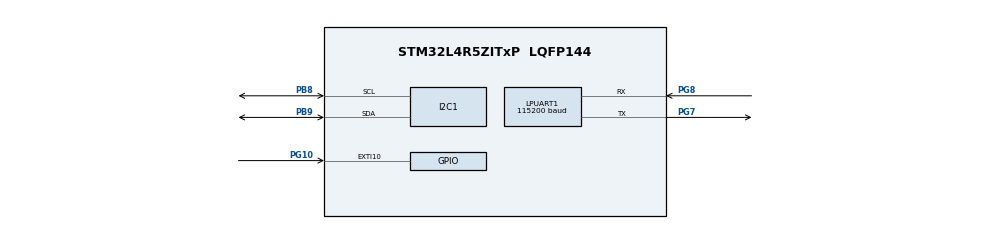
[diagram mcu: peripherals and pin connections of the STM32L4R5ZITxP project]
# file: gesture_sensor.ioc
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I2C1.Timing=0x00100D14
LPUART1.BaudRate=115200
LPUART1.WordLength=UART_WORDLENGTH_8B
Mcu.Family=STM32L4
Mcu.Name=STM32L4R5ZITxP
Mcu.Package=LQFP144
NVIC.EXTI15_10_IRQn=true\:0\:0\:false\:false\:true\:true\:true\:true
NVIC.PriorityGroup=NVIC_PRIORITYGROUP_4
NVIC.TIM2_IRQn=true\:0\:0\:false\:false\:true\:true\:true\:true
PA0.Signal=S_TIM2_CH1
PA1.Signal=ADCx_IN6
PA10.Signal=USB_OTG_FS_ID
PA13\ (JTMS/SWDIO).Signal=SYS_JTMS-SWDIO
PA14\ (JTCK/SWCLK).Signal=SYS_JTCK-SWCLK
PA3.Signal=ADCx_IN8
PA4.Signal=SPI1_NSS
PA5.Signal=SPI1_SCK
PA6.Signal=SPI1_MISO
PA7.Signal=SPI1_MOSI
PA8.Signal=USB_OTG_FS_SOF
PA9.Signal=USB_OTG_FS_VBUS
PB0.Signal=S_TIM3_CH3
PB1.Signal=ADCx_IN16
PB10.Signal=S_TIM2_CH3
PB12.Signal=SAI2_FS_A
PB13.Signal=SAI2_SCK_A
PB14.Signal=S_TIM15_CH1
PB15.Signal=SAI2_SD_A
PB2.Signal=COMP1_INP
PB3\ (JTDO/TRACESWO).Signal=SPI3_SCK
PB4\ (NJTRST).Signal=SPI3_MISO
PB5.Signal=SPI3_MOSI
PB6.Signal=COMP2_INP
PB8.Mode=I2C
PB8.Signal=I2C1_SCL
PB9.Mode=I2C
PB9.Signal=I2C1_SDA
PC0.Signal=ADCx_IN1
PC1.Signal=ADCx_IN2
PC10.Signal=SDMMC1_D2
PC11.Signal=SDMMC1_D3
PC12.Signal=SDMMC1_CK
PC13.Signal=SYS_WKUP2
PC14-OSC32_IN\ (PC14).Signal=RCC_OSC32_IN
PC15-OSC32_OUT\ (PC15).Signal=RCC_OSC32_OUT
PC2.Signal=ADCx_IN3
PC3.Signal=ADCx_IN4
PC4.Signal=ADCx_IN13
PC5.Signal=ADCx_IN14
PC6.Signal=SAI2_MCLK_A
PC7.Signal=S_TIM3_CH2
PC8.Signal=SDMMC1_D0
PC9.Signal=SDMMC1_D1
PD0.Signal=CAN1_RX
PD14.Signal=S_TIM4_CH3
PD15.Signal=S_TIM4_CH4
PD2.Signal=SDMMC1_CMD
PD3.Signal=USART2_CTS
PD4.Signal=USART2_RTS
PD5.Signal=USART2_TX
PD6.Signal=USART2_RX
PD8.Signal=USART3_TX
PD9.Signal=USART3_RX
PE0.Signal=S_TIM4_ETR
PE10.Signal=TIM1_CH2N
PE11.Signal=S_TIM1_CH2
PE12.Signal=TIM1_CH3N
PE13.Signal=S_TIM1_CH3
PE14.Signal=TIM1_BKIN2
PE15.Signal=TIM1_BKIN
PE2.Signal=SAI1_MCLK_A
PE3.Signal=SAI1_SD_B
PE7.Signal=S_TIM1_ETR
PE8.Signal=TIM1_CH1N
PE9.Signal=S_TIM1_CH1
PF0.Signal=I2C2_SDA
PF1.Signal=I2C2_SCL
PF2.Signal=I2C2_SMBA
PF7.Signal=SAI1_MCLK_B
PG10.Signal=GPXTI10
PG7.Mode=Asynchronous
PG7.Signal=LPUART1_TX
PG8.Mode=Asynchronous
PG8.Signal=LPUART1_RX
PH0-OSC_IN\ (PH0).Signal=RCC_OSC_IN
PH1-OSC_OUT\ (PH1).Signal=RCC_OSC_OUT
ProjectManager.HeapSize=0x200
ProjectManager.StackSize=0x400
ProjectManager.TargetToolchain=STM32CubeIDE
RCC.HSE_VALUE=8000000
RCC.HSI48_VALUE=48000000
RCC.HSI_VALUE=16000000
RCC.LSE_VALUE=32768
RCC.MSI_VALUE=4000000
RCC.VCOOutputFreq_Value=32000000
SH.ADCx_IN1.0=ADC1_IN1
SH.ADCx_IN13.0=ADC1_IN13
SH.ADCx_IN14.0=ADC1_IN14
SH.ADCx_IN16.0=ADC1_IN16
SH.ADCx_IN2.0=ADC1_IN2
SH.ADCx_IN3.0=ADC1_IN3
SH.ADCx_IN4.0=ADC1_IN4
SH.ADCx_IN6.0=ADC1_IN6
SH.ADCx_IN8.0=ADC1_IN8
SH.S_TIM15_CH1.0=TIM15_CH1
SH.S_TIM1_CH1.0=TIM1_CH1
SH.S_TIM1_CH2.0=TIM1_CH2
SH.S_TIM1_CH3.0=TIM1_CH3
SH.S_TIM1_ETR.0=TIM1_ETR
SH.S_TIM2_CH1.0=TIM2_CH1
SH.S_TIM2_CH3.0=TIM2_CH3
SH.S_TIM3_CH2.0=TIM3_CH2
SH.S_TIM3_CH3.0=TIM3_CH3
SH.S_TIM4_CH3.0=TIM4_CH3
SH.S_TIM4_CH4.0=TIM4_CH4
SH.S_TIM4_ETR.0=TIM4_ETR
TIM2.Period=49999
TIM2.Prescaler=7199
VP_TIM2_VS_ClockSourceINT.Mode=Internal
board=NUCLEO-L4R5ZI-P

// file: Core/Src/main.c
/* USER CODE BEGIN Header */
/**
  ******************************************************************************
  * @file           : main.c
  * @brief          : Main program body
  ******************************************************************************
  * @attention
  *
  * Copyright (c) 2024 STMicroelectronics.
  * All rights reserved.
  *
  * This software is licensed under terms that can be found in the LICENSE file
  * in the root directory of this software component.
  * If no LICENSE file comes with this software, it is provided AS-IS.
  *
  ******************************************************************************
  */
/* USER CODE END Header */
#include "main.h"

/* USER CODE BEGIN Includes */
#include "stdio.h"
/* USER CODE END Includes */

I2C_HandleTypeDef hi2c1;

UART_HandleTypeDef hlpuart1;

TIM_HandleTypeDef htim2;

/* USER CODE BEGIN PV */
enum GameMode{
	Good,
	Fail
};

enum Action{
	SwipeRight,
	SwipeLeft
};

enum GameMode game_status;
enum Action curr_action;
/* USER CODE END PV */

void SystemClock_Config(void);
static void MX_GPIO_Init(void);
static void MX_I2C1_Init(void);
static void MX_LPUART1_UART_Init(void);
static void MX_TIM2_Init(void);

/* USER CODE BEGIN 0 */
#define ZX_ADDR (0x10 << 1)
#define DRE_ADDR 0x01
#define GEST_ADDR 0x04
#define SAD_W_M 0x20
#define SAD_R_M 0x21

void HAL_GPIO_EXTI_Callback(uint16_t pin) {
	uint8_t buf[2] = {0x00};
	//read the status register to properly clear the interrupt
	int ret = HAL_I2C_Master_Transmit(&hi2c1, SAD_W_M, &buf[0], 1, 1000);

	ret = HAL_I2C_Master_Receive(&hi2c1, SAD_R_M, &buf[0], 1, 1000);

	if (ret == HAL_OK) {
		printf("Status 0x%02X\n\r", buf[0]);
	} else {
		printf("I2C Read Error\n\r");
	}

	// check to see if the status is giving a swipe gesture, if its not then don't spend the time to read it
	int should_read = buf[0] >> 2 & 1;
	int gesture;
	if(should_read)
	{
		buf[0]= 0x04;

		ret = HAL_I2C_Master_Transmit(&hi2c1, SAD_W_M, &buf[0], 1, 1000);
		if (ret != HAL_OK) {
			printf("transmit error\n\r");
		}

		ret = HAL_I2C_Master_Receive(&hi2c1, SAD_R_M, &buf[0], 1, 1000);

		// 0x01 is a Left Swipe, 0x02 is a Right Swipe
		if (ret == HAL_OK) {
			gesture = buf[0];
		} else {
			printf("I2C Read Error\n\r");
		}
	}

	if(gesture == 0x01 && curr_action == SwipeLeft)
	{
		printf("Success! \n\r");
		TIM2->CNT = 0;
	}
	else if(gesture == 0x02 && curr_action == SwipeRight)
	{
		printf("Success! \n\r");
		TIM2->CNT = 0;
	}
	else
	{
		game_status = Fail;
	}
}

void HAL_TIM_PeriodElapsedCallback(TIM_HandleTypeDef *htim)
{
	game_status = Fail;
}
/* USER CODE END 0 */

int main(void)
{

  /* MCU Configuration--------------------------------------------------------*/

  /* Reset of all peripherals, Initializes the Flash interface and the Systick. */
  HAL_Init();

  /* Configure the system clock */
  SystemClock_Config();

  /* Initialize all configured peripherals */
  MX_GPIO_Init();
  MX_I2C1_Init();
  MX_LPUART1_UART_Init();
  MX_TIM2_Init();

  /* Infinite loop */
  /* USER CODE BEGIN WHILE */
  //set interrupt to only interrupt when a swipe gesture is detected
    uint8_t buf[10]= {0x01, 0x04};
    int ret = HAL_I2C_Master_Transmit(&hi2c1, SAD_W_M, &buf[0], 2, 1000);
    ret = HAL_I2C_Master_Receive(&hi2c1, SAD_R_M, &buf[0], 1, 1000);

    //timer stuff woohoo
    HAL_TIM_Base_Start_IT(&htim2); //Starts timer 2
    game_status = Good;
    curr_action = SwipeRight;
  while (1)
  {
	  if(game_status == Good)
	  {
		  printf("count: %d \n\r", TIM2->CNT);
	  }
	  else
	  {
		  printf("womp womp \n\r");
		  exit(1);
	  }

    /* USER CODE END WHILE */

  }
}

void SystemClock_Config(void)
{
  RCC_OscInitTypeDef RCC_OscInitStruct = {0};
  RCC_ClkInitTypeDef RCC_ClkInitStruct = {0};

  /** Configure the main internal regulator output voltage
  */
  if (HAL_PWREx_ControlVoltageScaling(PWR_REGULATOR_VOLTAGE_SCALE1) != HAL_OK)
  {
    Error_Handler();
  }

  /** Initializes the RCC Oscillators according to the specified parameters
  * in the RCC_OscInitTypeDef structure.
  */
  RCC_OscInitStruct.OscillatorType = RCC_OSCILLATORTYPE_MSI;
  RCC_OscInitStruct.MSIState = RCC_MSI_ON;
  RCC_OscInitStruct.MSICalibrationValue = 0;
  RCC_OscInitStruct.MSIClockRange = RCC_MSIRANGE_6;
  RCC_OscInitStruct.PLL.PLLState = RCC_PLL_NONE;
  if (HAL_RCC_OscConfig(&RCC_OscInitStruct) != HAL_OK)
  {
    Error_Handler();
  }

  /** Initializes the CPU, AHB and APB buses clocks
  */
  RCC_ClkInitStruct.ClockType = RCC_CLOCKTYPE_HCLK|RCC_CLOCKTYPE_SYSCLK
                              |RCC_CLOCKTYPE_PCLK1|RCC_CLOCKTYPE_PCLK2;
  RCC_ClkInitStruct.SYSCLKSource = RCC_SYSCLKSOURCE_MSI;
  RCC_ClkInitStruct.AHBCLKDivider = RCC_SYSCLK_DIV1;
  RCC_ClkInitStruct.APB1CLKDivider = RCC_HCLK_DIV1;
  RCC_ClkInitStruct.APB2CLKDivider = RCC_HCLK_DIV1;

  if (HAL_RCC_ClockConfig(&RCC_ClkInitStruct, FLASH_LATENCY_0) != HAL_OK)
  {
    Error_Handler();
  }
}

static void MX_I2C1_Init(void)
{

  hi2c1.Instance = I2C1;
  hi2c1.Init.Timing = 0x00100D14;
  hi2c1.Init.OwnAddress1 = 0;
  hi2c1.Init.AddressingMode = I2C_ADDRESSINGMODE_7BIT;
  hi2c1.Init.DualAddressMode = I2C_DUALADDRESS_DISABLE;
  hi2c1.Init.OwnAddress2 = 0;
  hi2c1.Init.OwnAddress2Masks = I2C_OA2_NOMASK;
  hi2c1.Init.GeneralCallMode = I2C_GENERALCALL_DISABLE;
  hi2c1.Init.NoStretchMode = I2C_NOSTRETCH_DISABLE;
  if (HAL_I2C_Init(&hi2c1) != HAL_OK)
  {
    Error_Handler();
  }

  /** Configure Analogue filter
  */
  if (HAL_I2CEx_ConfigAnalogFilter(&hi2c1, I2C_ANALOGFILTER_ENABLE) != HAL_OK)
  {
    Error_Handler();
  }

  /** Configure Digital filter
  */
  if (HAL_I2CEx_ConfigDigitalFilter(&hi2c1, 0) != HAL_OK)
  {
    Error_Handler();
  }

}

static void MX_LPUART1_UART_Init(void)
{

  hlpuart1.Instance = LPUART1;
  hlpuart1.Init.BaudRate = 115200;
  hlpuart1.Init.WordLength = UART_WORDLENGTH_8B;
  hlpuart1.Init.StopBits = UART_STOPBITS_1;
  hlpuart1.Init.Parity = UART_PARITY_NONE;
  hlpuart1.Init.Mode = UART_MODE_TX_RX;
  hlpuart1.Init.HwFlowCtl = UART_HWCONTROL_NONE;
  hlpuart1.Init.OneBitSampling = UART_ONE_BIT_SAMPLE_DISABLE;
  hlpuart1.Init.ClockPrescaler = UART_PRESCALER_DIV1;
  hlpuart1.AdvancedInit.AdvFeatureInit = UART_ADVFEATURE_NO_INIT;
  hlpuart1.FifoMode = UART_FIFOMODE_DISABLE;
  if (HAL_UART_Init(&hlpuart1) != HAL_OK)
  {
    Error_Handler();
  }
  if (HAL_UARTEx_SetTxFifoThreshold(&hlpuart1, UART_TXFIFO_THRESHOLD_1_8) != HAL_OK)
  {
    Error_Handler();
  }
  if (HAL_UARTEx_SetRxFifoThreshold(&hlpuart1, UART_RXFIFO_THRESHOLD_1_8) != HAL_OK)
  {
    Error_Handler();
  }
  if (HAL_UARTEx_DisableFifoMode(&hlpuart1) != HAL_OK)
  {
    Error_Handler();
  }

}

static void MX_TIM2_Init(void)
{

  TIM_ClockConfigTypeDef sClockSourceConfig = {0};
  TIM_MasterConfigTypeDef sMasterConfig = {0};

  htim2.Instance = TIM2;
  htim2.Init.Prescaler = 7199;
  htim2.Init.CounterMode = TIM_COUNTERMODE_UP;
  htim2.Init.Period = 4999;
  htim2.Init.ClockDivision = TIM_CLOCKDIVISION_DIV1;
  htim2.Init.AutoReloadPreload = TIM_AUTORELOAD_PRELOAD_DISABLE;
  if (HAL_TIM_Base_Init(&htim2) != HAL_OK)
  {
    Error_Handler();
  }
  sClockSourceConfig.ClockSource = TIM_CLOCKSOURCE_INTERNAL;
  if (HAL_TIM_ConfigClockSource(&htim2, &sClockSourceConfig) != HAL_OK)
  {
    Error_Handler();
  }
  sMasterConfig.MasterOutputTrigger = TIM_TRGO_RESET;
  sMasterConfig.MasterSlaveMode = TIM_MASTERSLAVEMODE_DISABLE;
  if (HAL_TIMEx_MasterConfigSynchronization(&htim2, &sMasterConfig) != HAL_OK)
  {
    Error_Handler();
  }

}

static void MX_GPIO_Init(void)
{
  GPIO_InitTypeDef GPIO_InitStruct = {0};

  /* GPIO Ports Clock Enable */
  __HAL_RCC_GPIOE_CLK_ENABLE();
  __HAL_RCC_GPIOC_CLK_ENABLE();
  __HAL_RCC_GPIOF_CLK_ENABLE();
  __HAL_RCC_GPIOH_CLK_ENABLE();
  __HAL_RCC_GPIOA_CLK_ENABLE();
  __HAL_RCC_GPIOB_CLK_ENABLE();
  __HAL_RCC_GPIOD_CLK_ENABLE();
  __HAL_RCC_GPIOG_CLK_ENABLE();
  HAL_PWREx_EnableVddIO2();

  /*Configure GPIO pins : PE2 PE3 */
  GPIO_InitStruct.Pin = GPIO_PIN_2|GPIO_PIN_3;
  GPIO_InitStruct.Mode = GPIO_MODE_AF_PP;
  GPIO_InitStruct.Pull = GPIO_NOPULL;
  GPIO_InitStruct.Speed = GPIO_SPEED_FREQ_LOW;
  GPIO_InitStruct.Alternate = GPIO_AF13_SAI1;
  HAL_GPIO_Init(GPIOE, &GPIO_InitStruct);

  /*Configure GPIO pins : PF0 PF1 PF2 */
  GPIO_InitStruct.Pin = GPIO_PIN_0|GPIO_PIN_1|GPIO_PIN_2;
  GPIO_InitStruct.Mode = GPIO_MODE_AF_OD;
  GPIO_InitStruct.Pull = GPIO_NOPULL;
  GPIO_InitStruct.Speed = GPIO_SPEED_FREQ_VERY_HIGH;
  GPIO_InitStruct.Alternate = GPIO_AF4_I2C2;
  HAL_GPIO_Init(GPIOF, &GPIO_InitStruct);

  /*Configure GPIO pin : PF7 */
  GPIO_InitStruct.Pin = GPIO_PIN_7;
  GPIO_InitStruct.Mode = GPIO_MODE_AF_PP;
  GPIO_InitStruct.Pull = GPIO_NOPULL;
  GPIO_InitStruct.Speed = GPIO_SPEED_FREQ_LOW;
  GPIO_InitStruct.Alternate = GPIO_AF13_SAI1;
  HAL_GPIO_Init(GPIOF, &GPIO_InitStruct);

  /*Configure GPIO pins : PC0 PC1 PC2 PC3
                           PC4 PC5 */
  GPIO_InitStruct.Pin = GPIO_PIN_0|GPIO_PIN_1|GPIO_PIN_2|GPIO_PIN_3
                          |GPIO_PIN_4|GPIO_PIN_5;
  GPIO_InitStruct.Mode = GPIO_MODE_ANALOG_ADC_CONTROL;
  GPIO_InitStruct.Pull = GPIO_NOPULL;
  HAL_GPIO_Init(GPIOC, &GPIO_InitStruct);

  /*Configure GPIO pins : PA1 PA3 */
  GPIO_InitStruct.Pin = GPIO_PIN_1|GPIO_PIN_3;
  GPIO_InitStruct.Mode = GPIO_MODE_ANALOG_ADC_CONTROL;
  GPIO_InitStruct.Pull = GPIO_NOPULL;
  HAL_GPIO_Init(GPIOA, &GPIO_InitStruct);

  /*Configure GPIO pins : PA4 PA5 PA6 PA7 */
  GPIO_InitStruct.Pin = GPIO_PIN_4|GPIO_PIN_5|GPIO_PIN_6|GPIO_PIN_7;
  GPIO_InitStruct.Mode = GPIO_MODE_AF_PP;
  GPIO_InitStruct.Pull = GPIO_NOPULL;
  GPIO_InitStruct.Speed = GPIO_SPEED_FREQ_VERY_HIGH;
  GPIO_InitStruct.Alternate = GPIO_AF5_SPI1;
  HAL_GPIO_Init(GPIOA, &GPIO_InitStruct);

  /*Configure GPIO pin : PB0 */
  GPIO_InitStruct.Pin = GPIO_PIN_0;
  GPIO_InitStruct.Mode = GPIO_MODE_AF_PP;
  GPIO_InitStruct.Pull = GPIO_NOPULL;
  GPIO_InitStruct.Speed = GPIO_SPEED_FREQ_LOW;
  GPIO_InitStruct.Alternate = GPIO_AF2_TIM3;
  HAL_GPIO_Init(GPIOB, &GPIO_InitStruct);

  /*Configure GPIO pin : PB1 */
  GPIO_InitStruct.Pin = GPIO_PIN_1;
  GPIO_InitStruct.Mode = GPIO_MODE_ANALOG_ADC_CONTROL;
  GPIO_InitStruct.Pull = GPIO_NOPULL;
  HAL_GPIO_Init(GPIOB, &GPIO_InitStruct);

  /*Configure GPIO pins : PB2 PB6 */
  GPIO_InitStruct.Pin = GPIO_PIN_2|GPIO_PIN_6;
  GPIO_InitStruct.Mode = GPIO_MODE_ANALOG;
  GPIO_InitStruct.Pull = GPIO_NOPULL;
  HAL_GPIO_Init(GPIOB, &GPIO_InitStruct);

  /*Configure GPIO pins : PE7 PE8 PE9 PE10
                           PE11 PE12 PE13 */
  GPIO_InitStruct.Pin = GPIO_PIN_7|GPIO_PIN_8|GPIO_PIN_9|GPIO_PIN_10
                          |GPIO_PIN_11|GPIO_PIN_12|GPIO_PIN_13;
  GPIO_InitStruct.Mode = GPIO_MODE_AF_PP;
  GPIO_InitStruct.Pull = GPIO_NOPULL;
  GPIO_InitStruct.Speed = GPIO_SPEED_FREQ_LOW;
  GPIO_InitStruct.Alternate = GPIO_AF1_TIM1;
  HAL_GPIO_Init(GPIOE, &GPIO_InitStruct);

  /*Configure GPIO pins : PE14 PE15 */
  GPIO_InitStruct.Pin = GPIO_PIN_14|GPIO_PIN_15;
  GPIO_InitStruct.Mode = GPIO_MODE_AF_PP;
  GPIO_InitStruct.Pull = GPIO_NOPULL;
  GPIO_InitStruct.Speed = GPIO_SPEED_FREQ_LOW;
  GPIO_InitStruct.Alternate = GPIO_AF3_TIM1_COMP1;
  HAL_GPIO_Init(GPIOE, &GPIO_InitStruct);

  /*Configure GPIO pins : PB12 PB13 PB15 */
  GPIO_InitStruct.Pin = GPIO_PIN_12|GPIO_PIN_13|GPIO_PIN_15;
  GPIO_InitStruct.Mode = GPIO_MODE_AF_PP;
  GPIO_InitStruct.Pull = GPIO_NOPULL;
  GPIO_InitStruct.Speed = GPIO_SPEED_FREQ_LOW;
  GPIO_InitStruct.Alternate = GPIO_AF13_SAI2;
  HAL_GPIO_Init(GPIOB, &GPIO_InitStruct);

  /*Configure GPIO pin : PB14 */
  GPIO_InitStruct.Pin = GPIO_PIN_14;
  GPIO_InitStruct.Mode = GPIO_MODE_AF_PP;
  GPIO_InitStruct.Pull = GPIO_NOPULL;
  GPIO_InitStruct.Speed = GPIO_SPEED_FREQ_LOW;
  GPIO_InitStruct.Alternate = GPIO_AF14_TIM15;
  HAL_GPIO_Init(GPIOB, &GPIO_InitStruct);

  /*Configure GPIO pins : PD8 PD9 */
  GPIO_InitStruct.Pin = GPIO_PIN_8|GPIO_PIN_9;
  GPIO_InitStruct.Mode = GPIO_MODE_AF_PP;
  GPIO_InitStruct.Pull = GPIO_NOPULL;
  GPIO_InitStruct.Speed = GPIO_SPEED_FREQ_VERY_HIGH;
  GPIO_InitStruct.Alternate = GPIO_AF7_USART3;
  HAL_GPIO_Init(GPIOD, &GPIO_InitStruct);

  /*Configure GPIO pins : PD14 PD15 */
  GPIO_InitStruct.Pin = GPIO_PIN_14|GPIO_PIN_15;
  GPIO_InitStruct.Mode = GPIO_MODE_AF_PP;
  GPIO_InitStruct.Pull = GPIO_NOPULL;
  GPIO_InitStruct.Speed = GPIO_SPEED_FREQ_LOW;
  GPIO_InitStruct.Alternate = GPIO_AF2_TIM4;
  HAL_GPIO_Init(GPIOD, &GPIO_InitStruct);

  /*Configure GPIO pin : PC6 */
  GPIO_InitStruct.Pin = GPIO_PIN_6;
  GPIO_InitStruct.Mode = GPIO_MODE_AF_PP;
  GPIO_InitStruct.Pull = GPIO_NOPULL;
  GPIO_InitStruct.Speed = GPIO_SPEED_FREQ_LOW;
  GPIO_InitStruct.Alternate = GPIO_AF13_SAI2;
  HAL_GPIO_Init(GPIOC, &GPIO_InitStruct);

  /*Configure GPIO pin : PC7 */
  GPIO_InitStruct.Pin = GPIO_PIN_7;
  GPIO_InitStruct.Mode = GPIO_MODE_AF_PP;
  GPIO_InitStruct.Pull = GPIO_NOPULL;
  GPIO_InitStruct.Speed = GPIO_SPEED_FREQ_LOW;
  GPIO_InitStruct.Alternate = GPIO_AF2_TIM3;
  HAL_GPIO_Init(GPIOC, &GPIO_InitStruct);

  /*Configure GPIO pins : PC8 PC9 PC10 PC11
                           PC12 */
  GPIO_InitStruct.Pin = GPIO_PIN_8|GPIO_PIN_9|GPIO_PIN_10|GPIO_PIN_11
                          |GPIO_PIN_12;
  GPIO_InitStruct.Mode = GPIO_MODE_AF_PP;
  GPIO_InitStruct.Pull = GPIO_NOPULL;
  GPIO_InitStruct.Speed = GPIO_SPEED_FREQ_VERY_HIGH;
  GPIO_InitStruct.Alternate = GPIO_AF12_SDMMC1;
  HAL_GPIO_Init(GPIOC, &GPIO_InitStruct);

  /*Configure GPIO pins : PA8 PA10 */
  GPIO_InitStruct.Pin = GPIO_PIN_8|GPIO_PIN_10;
  GPIO_InitStruct.Mode = GPIO_MODE_AF_PP;
  GPIO_InitStruct.Pull = GPIO_NOPULL;
  GPIO_InitStruct.Speed = GPIO_SPEED_FREQ_VERY_HIGH;
  GPIO_InitStruct.Alternate = GPIO_AF10_OTG_FS;
  HAL_GPIO_Init(GPIOA, &GPIO_InitStruct);

  /*Configure GPIO pin : PA9 */
  GPIO_InitStruct.Pin = GPIO_PIN_9;
  GPIO_InitStruct.Mode = GPIO_MODE_INPUT;
  GPIO_InitStruct.Pull = GPIO_NOPULL;
  HAL_GPIO_Init(GPIOA, &GPIO_InitStruct);

  /*Configure GPIO pin : PD0 */
  GPIO_InitStruct.Pin = GPIO_PIN_0;
  GPIO_InitStruct.Mode = GPIO_MODE_AF_PP;
  GPIO_InitStruct.Pull = GPIO_NOPULL;
  GPIO_InitStruct.Speed = GPIO_SPEED_FREQ_VERY_HIGH;
  GPIO_InitStruct.Alternate = GPIO_AF9_CAN1;
  HAL_GPIO_Init(GPIOD, &GPIO_InitStruct);

  /*Configure GPIO pin : PD2 */
  GPIO_InitStruct.Pin = GPIO_PIN_2;
  GPIO_InitStruct.Mode = GPIO_MODE_AF_PP;
  GPIO_InitStruct.Pull = GPIO_NOPULL;
  GPIO_InitStruct.Speed = GPIO_SPEED_FREQ_VERY_HIGH;
  GPIO_InitStruct.Alternate = GPIO_AF12_SDMMC1;
  HAL_GPIO_Init(GPIOD, &GPIO_InitStruct);

  /*Configure GPIO pins : PD3 PD4 PD5 PD6 */
  GPIO_InitStruct.Pin = GPIO_PIN_3|GPIO_PIN_4|GPIO_PIN_5|GPIO_PIN_6;
  GPIO_InitStruct.Mode = GPIO_MODE_AF_PP;
  GPIO_InitStruct.Pull = GPIO_NOPULL;
  GPIO_InitStruct.Speed = GPIO_SPEED_FREQ_VERY_HIGH;
  GPIO_InitStruct.Alternate = GPIO_AF7_USART2;
  HAL_GPIO_Init(GPIOD, &GPIO_InitStruct);

  /*Configure GPIO pin : PG10 */
  GPIO_InitStruct.Pin = GPIO_PIN_10;
  GPIO_InitStruct.Mode = GPIO_MODE_IT_RISING;
  GPIO_InitStruct.Pull = GPIO_NOPULL;
  HAL_GPIO_Init(GPIOG, &GPIO_InitStruct);

  /*Configure GPIO pins : PB3 PB4 PB5 */
  GPIO_InitStruct.Pin = GPIO_PIN_3|GPIO_PIN_4|GPIO_PIN_5;
  GPIO_InitStruct.Mode = GPIO_MODE_AF_PP;
  GPIO_InitStruct.Pull = GPIO_NOPULL;
  GPIO_InitStruct.Speed = GPIO_SPEED_FREQ_VERY_HIGH;
  GPIO_InitStruct.Alternate = GPIO_AF6_SPI3;
  HAL_GPIO_Init(GPIOB, &GPIO_InitStruct);

  /*Configure GPIO pin : PE0 */
  GPIO_InitStruct.Pin = GPIO_PIN_0;
  GPIO_InitStruct.Mode = GPIO_MODE_AF_PP;
  GPIO_InitStruct.Pull = GPIO_NOPULL;
  GPIO_InitStruct.Speed = GPIO_SPEED_FREQ_LOW;
  GPIO_InitStruct.Alternate = GPIO_AF2_TIM4;
  HAL_GPIO_Init(GPIOE, &GPIO_InitStruct);

  /* EXTI interrupt init*/
  HAL_NVIC_SetPriority(EXTI15_10_IRQn, 0, 0);
  HAL_NVIC_EnableIRQ(EXTI15_10_IRQn);

}

/* USER CODE BEGIN 4 */
#ifdef __GNUC__
#define PUTCHAR_PROTOTYPE int __io_putchar(int ch)
#else
  #define PUTCHAR_PROTOTYPE int fputc(int ch, FILE *f)
#endif /* __GNUC__ */
PUTCHAR_PROTOTYPE
{
  HAL_UART_Transmit(&hlpuart1, (uint8_t *)&ch, 1, 0xFFFF);
  return ch;
}
/* USER CODE END 4 */

void Error_Handler(void)
{
  __disable_irq();
  while (1)
  {
  }
}
